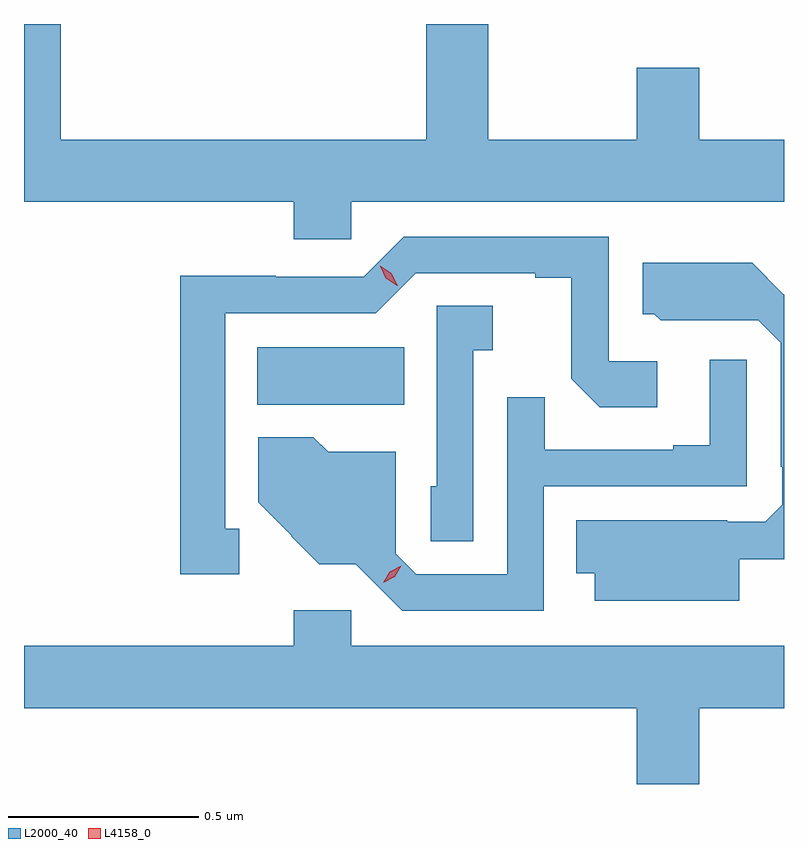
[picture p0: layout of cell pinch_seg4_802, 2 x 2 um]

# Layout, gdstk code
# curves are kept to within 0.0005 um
import gdstk
lib = gdstk.Library(unit=1e-6, precision=1e-09)
def R(c, l, rs):  # rectangles x0, y0, x1, y1
    for r in rs: c.add(gdstk.rectangle(r[:2], r[2:], *l))
def P(c, l, *ps):  # polygons
    for p in ps: c.add(gdstk.Polygon(p, *l))
L2000_40 = (2000, 40)
L4158_0 = (4158, 0)

pinch_seg4_802 = lib.new_cell('pinch_seg4_802')
R(pinch_seg4_802, L2000_40, [(799.373,816.266,799.76,816.418)])
P(pinch_seg4_802, L2000_40, [(799.62,816.8),(800.759,816.8),(800.759,816.964),(800.536,816.964),(800.536,817.153),(800.372,817.153),(800.372,816.964),(799.981,816.964),(799.981,817.268),(799.817,817.268),(799.817,816.964),(798.856,816.964),(798.856,817.268),(798.759,817.268),(798.759,816.8),(799.469,816.8),(799.469,816.702),(799.62,816.702)],
  [(799.326,815.94),(799.288,815.94),(799.288,816.507),(799.685,816.507),(799.79,816.612),(800.105,816.612),(800.105,816.6),(800.199,816.6),(800.199,816.335),(800.274,816.26),(800.425,816.26),(800.425,816.381),(800.298,816.381),(800.298,816.708),(799.758,816.708),(799.653,816.603),(799.421,816.603),(799.421,816.605),(799.17,816.605),(799.17,815.82),(799.326,815.82)],
  [(800.641,815.86),(800.759,815.86),(800.759,816.555),(800.675,816.64),(800.387,816.64),(800.387,816.504),(800.418,816.504),(800.434,816.488),(800.568,816.488),(800.568,816.489),(800.691,816.489),(800.751,816.429),(800.751,816.103),(800.754,816.103),(800.754,816.003),(800.709,815.958),(800.609,815.958),(800.609,815.962),(800.212,815.962),(800.212,815.822),(800.261,815.822),(800.261,815.75),(800.641,815.75)],
  [(799.941,816.409),(799.993,816.409),(799.993,816.527),(799.845,816.527),(799.845,816.051),(799.83,816.051),(799.83,815.907),(799.941,815.907)],
  [(800.127,816.051),(800.661,816.051),(800.661,816.385),(800.564,816.385),(800.564,816.16),(800.468,816.16),(800.468,816.147),(800.129,816.147),(800.129,816.286),(800.031,816.286),(800.031,815.82),(799.791,815.82),(799.737,815.874),(799.737,816.142),(799.559,816.142),(799.52,816.181),(799.376,816.181),(799.376,816.009),(799.464,815.921),(799.462,815.92),(799.536,815.846),(799.632,815.846),(799.754,815.724),(800.127,815.724)],
  [(800.536,815.468),(800.759,815.468),(800.759,815.632),(799.62,815.632),(799.62,815.725),(799.469,815.725),(799.469,815.632),(798.759,815.632),(798.759,815.468),(800.372,815.468),(800.372,815.268),(800.536,815.268)])
P(pinch_seg4_802, L4158_0, [(799.704,815.797),(799.704,815.797),(799.721,815.827),(799.752,815.843),(799.752,815.843),(799.752,815.843),(799.735,815.813),(799.705,815.797)],
  [(799.741,816.579),(799.711,816.599),(799.696,816.631),(799.696,816.632),(799.696,816.632),(799.726,816.612),(799.742,816.579),(799.742,816.579)])

lib.write_gds('pinch_seg4_802.gds')
